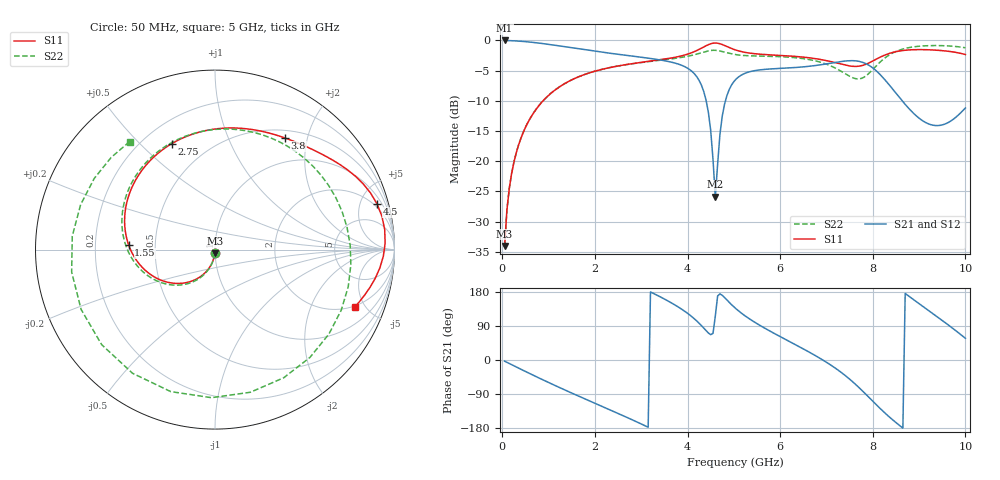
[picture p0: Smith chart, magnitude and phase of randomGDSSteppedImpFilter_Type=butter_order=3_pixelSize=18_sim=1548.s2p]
! freq	dB(S11)	phase(S11)	dB(S12)	phase(S12)
!  dB(S21)	phase(S21)	dB(S22)	phase(S22)
!S-par simulation data
#  GHz  S  DB  R 50
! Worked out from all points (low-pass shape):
!   200 points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, 50 MHz to 10 GHz, reference 50 ohm
!   highest |S21| = -0.01 dB at 50 MHz (marker M1); lowest = -25.9 dB at 4.6 GHz (marker M2)
!   |S21| within 3 dB of the highest: start of sweep to 3.215 GHz
!   lowest |S11| = -34.0 dB at 50 MHz (marker M3), VSWR 1.04, Z = 49.9 - j1.98 ohm
!   |S11| at or under -10 dB: start of sweep to 880.3 MHz
!   |S22| runs from -34.1 to -0.8 dB; largest |S21 - S12| = 0
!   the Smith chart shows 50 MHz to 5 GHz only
!   S11 on the Smith chart (normalised r, x): 50 MHz: 1.00, -0.04; 1.55 GHz: 0.35, +0.02; 2.75 GHz: 0.31, +0.62; 3.8 GHz: 0.61, +1.64; 4.5 GHz: 1.62, +6.86; 5 GHz: 1.92, -4.23
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0.05  -34.04 -93.1  -0.01 -3.1  -0.01 -3.1  -34.06 -92.9
0.45  -15.27 -118.5  -0.17 -27.3  -0.17 -27.3  -15.26 -117.0
1.55  -6.34 176.9  -1.27 -90.0  -1.27 -90.0  -6.34 -178.2
1.75  -5.71 165.9  -1.50 -100.8  -1.50 -100.8  -5.71 171.2
2.75  -3.91 112.2  -2.54 -154.7  -2.54 -154.7  -3.93 117.1
3.4  -3.22 78.3  -3.22 167.4  -3.22 167.4  -3.29 75.2
3.8  -2.69 57.9  -3.91 139.9  -3.91 139.9  -2.89 40.4
4.25  -1.49 34.2  -6.62 97.0  -6.62 97.0  -2.16 -25.6
4.5  -0.56 15.7  -14.88 66.9  -14.88 66.9  -1.67 -91.3
4.6  -0.43 6.7  -25.88 116.0  -25.88 116.0  -1.64 -123.7
4.75  -0.68 -6.3  -12.52 170.7  -12.52 170.7  -1.85 -171.1
5  -1.49 -22.3  -6.82 140.3  -6.82 140.3  -2.30 128.3
5.05  -1.62 -25.0  -6.39 134.9  -6.39 134.9  -2.36 119.1
5.8  -2.40 -60.4  -4.72 74.9  -4.72 74.9  -2.64 32.1
6.7  -2.95 -102.7  -4.22 15.8  -4.22 15.8  -3.28 -41.5
7.2  -3.70 -124.5  -3.63 -22.2  -3.63 -22.2  -4.61 -94.2
7.65  -4.30 -138.2  -3.40 -66.7  -3.40 -66.7  -6.36 -175.3
8.05  -3.20 -151.0  -4.86 -114.9  -4.86 -114.9  -4.41 90.7
8.35  -2.17 -169.4  -7.31 -149.5  -7.31 -149.5  -2.43 40.3
8.75  -1.59 160.0  -11.02 171.1  -11.02 171.1  -1.24 -3.8
9.35  -1.60 106.6  -14.09 117.9  -14.09 117.9  -0.85 -46.2
10  -2.34 31.1  -11.19 57.4  -11.19 57.4  -1.22 -79.9
